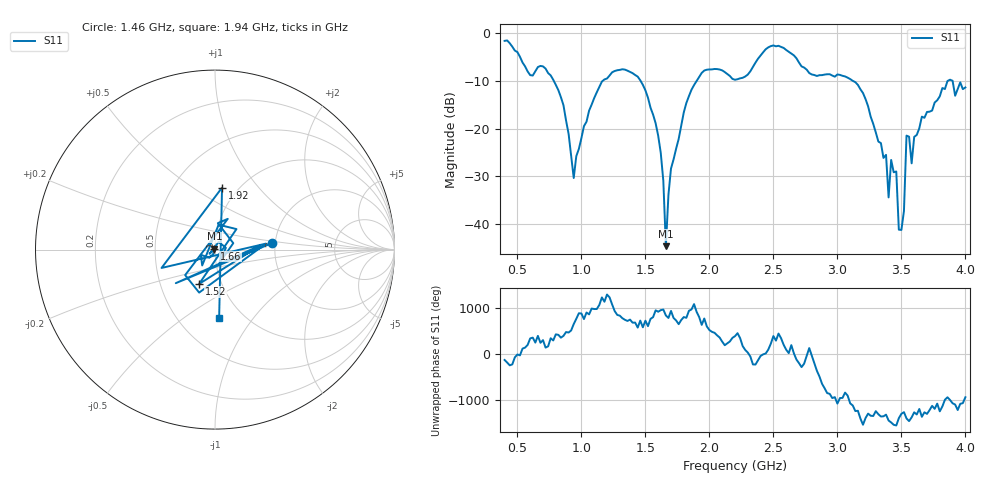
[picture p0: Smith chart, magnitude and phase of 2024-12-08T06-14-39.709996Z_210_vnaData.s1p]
!Created with skrf (http://scikit-rf.org).
# Hz S RI R 50.0
!freq ReS11 ImS11
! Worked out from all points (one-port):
!   181 points, 400 MHz to 4 GHz, reference 50 ohm
!   lowest |S11| = -44.7 dB at 1.66 GHz (marker M1), VSWR 1.01, Z = 49.7 + j0.51 ohm
!   |S11| at or under -10 dB: 784.4 MHz to 1.166 GHz (382.1 MHz wide, 39.2 % of centre); 1.462 GHz to 1.901 GHz (438.4 MHz wide, 26.1 % of centre); 3.121 GHz to 3.862 GHz (741.1 MHz wide, 21.2 % of centre) (the widest 3 of 4)
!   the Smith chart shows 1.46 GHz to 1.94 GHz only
!   S11 on the Smith chart (normalised r, x): 1.46 GHz: 1.93, +0.16; 1.52 GHz: 0.78, -0.31; 1.66 GHz: 0.99, +0.01; 1.92 GHz: 0.84, +0.66; 1.94 GHz: 0.77, -0.70
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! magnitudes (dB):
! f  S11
! 400 MHz  -1.6
! 860 MHz  -15.1
! 940 MHz  -30.4
! 1.1 GHz  -13.6
! 1.3 GHz  -7.7
! 1.46 GHz  -9.9
! 1.52 GHz  -13.5
! 1.62 GHz  -25.1
! 1.66 GHz  -44.7
! 1.7 GHz  -28.4
! 1.76 GHz  -22.2
! 1.92 GHz  -9.2
! 1.94 GHz  -8.3
! 2.2 GHz  -9.8
! 2.48 GHz  -2.7
! 2.66 GHz  -4.6
! 3.1 GHz  -9.6
! 3.38 GHz  -25.5
! 3.4 GHz  -34.4
! 3.42 GHz  -26.6
! 3.46 GHz  -29.0
! 3.48 GHz  -41.2
! 3.52 GHz  -37.3
! 3.54 GHz  -21.5
! 3.56 GHz  -21.7
! 3.58 GHz  -27.3
! 3.66 GHz  -17.5
! 4 GHz  -11.4
